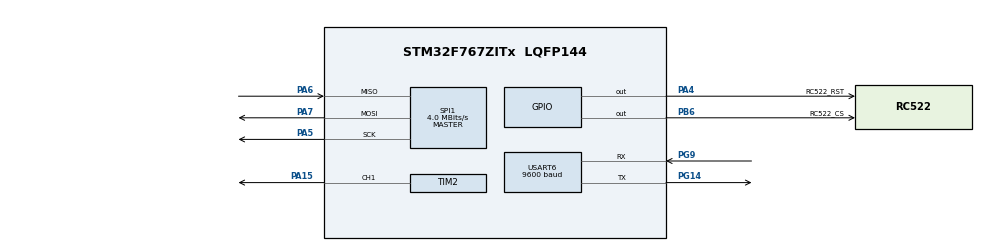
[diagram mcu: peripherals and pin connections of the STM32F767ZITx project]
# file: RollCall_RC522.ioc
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CORTEX_M7.default_mode_Activation=1
Mcu.Family=STM32F7
Mcu.Name=STM32F767ZITx
Mcu.Package=LQFP144
NVIC.PriorityGroup=NVIC_PRIORITYGROUP_4
PA15.Signal=S_TIM2_CH1_ETR
PA4.GPIO_Label=RC522_RST
PA4.PinState=GPIO_PIN_SET
PA4.Signal=GPIO_Output
PA5.Mode=Full_Duplex_Master
PA5.Signal=SPI1_SCK
PA6.Mode=Full_Duplex_Master
PA6.Signal=SPI1_MISO
PA7.Mode=Full_Duplex_Master
PA7.Signal=SPI1_MOSI
PB6.GPIO_Label=RC522_CS
PB6.PinState=GPIO_PIN_SET
PB6.Signal=GPIO_Output
PG14.Mode=Asynchronous
PG14.Signal=USART6_TX
PG9.Mode=Asynchronous
PG9.Signal=USART6_RX
ProjectManager.HeapSize=0x200
ProjectManager.StackSize=0x400
ProjectManager.TargetToolchain=CMake
RCC.HSE_VALUE=25000000
RCC.HSI_VALUE=16000000
RCC.LSE_VALUE=32768
RCC.USBFreq_Value=96000000
RCC.VCOOutputFreq_Value=192000000
SH.S_TIM2_CH1_ETR.0=TIM2_CH1,PWM Generation1 CH1
SPI1.BaudRatePrescaler=SPI_BAUDRATEPRESCALER_4
SPI1.CalculateBaudRate=4.0 MBits/s
SPI1.DataSize=SPI_DATASIZE_8BIT
SPI1.Direction=SPI_DIRECTION_2LINES
SPI1.Mode=SPI_MODE_MASTER
SPI1.VirtualType=VM_MASTER
TIM2.Channel-PWM\ Generation1\ CH1=TIM_CHANNEL_1
TIM2.Period=1000
TIM2.Prescaler=15
USART6.BaudRate=9600
USART6.VirtualMode-Asynchronous=VM_ASYNC
VP_TIM2_VS_ClockSourceINT.Mode=Internal
board=custom

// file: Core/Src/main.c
/* USER CODE BEGIN Header */
/**
  ******************************************************************************
  * @file           : main.c
  * @brief          : Main program body
  ******************************************************************************
  * @attention
  *
  * Copyright (c) 2026 STMicroelectronics.
  * All rights reserved.
  *
  * This software is licensed under terms that can be found in the LICENSE file
  * in the root directory of this software component.
  * If no LICENSE file comes with this software, it is provided AS-IS.
  *
  ******************************************************************************
  */
/* USER CODE END Header */
#include "main.h"

/* USER CODE BEGIN Includes */
#include <stdio.h> /* Bringing in snprintf() for formatting the UID string before transmission. */
#include "../../Modules/RC522/Inc/rc522.h" /* Bringing in the RC522 driver's public interface for the wiring test. */
/* USER CODE END Includes */

SPI_HandleTypeDef hspi1;

TIM_HandleTypeDef htim2;

UART_HandleTypeDef huart6;

/* USER CODE BEGIN PV */
uint8_t cardUid[7];   /* Holding the UID returned by RC522_ReadCardUID(). */
uint8_t cardUidLen;   /* Holding the actual UID length (4 or 7 bytes) written by RC522_ReadCardUID(). */
uint8_t uartMsg[64];  /* Buffering the formatted string transmitted over huart6. */
/* USER CODE END PV */

void SystemClock_Config(void);
static void MPU_Config(void);
static void MX_GPIO_Init(void);
static void MX_SPI1_Init(void);
static void MX_TIM2_Init(void);
static void MX_USART6_UART_Init(void);

/* USER CODE BEGIN 0 */

/**
  * @brief Plays a two-note "ding-dong" confirmation tone on the passive buzzer.
  * @note  TIM2's Prescaler=15 configures its counting frequency to 1 MHz (1,000,000 Hz),
  *        so ARR/CCR values below are derived directly from that 1 MHz tick rate.
  */
static void Play_DingDong(void)
{
  /* Playing the "ding" note (high pitch, C6, approximately 1046 Hz). */
  __HAL_TIM_SET_AUTORELOAD(&htim2, 1000000 / 1046);
  __HAL_TIM_SET_COMPARE(&htim2, TIM_CHANNEL_1, (1000000 / 1046) / 2); /* 50% duty cycle. */
  HAL_TIM_PWM_Start(&htim2, TIM_CHANNEL_1);
  HAL_Delay(100);

  /* Playing the "dong" note (low pitch, G5, approximately 784 Hz). */
  __HAL_TIM_SET_AUTORELOAD(&htim2, 1000000 / 784);
  __HAL_TIM_SET_COMPARE(&htim2, TIM_CHANNEL_1, (1000000 / 784) / 2);
  HAL_Delay(200);

  /* Stopping PWM output, silencing the buzzer. */
  HAL_TIM_PWM_Stop(&htim2, TIM_CHANNEL_1);
}

/* USER CODE END 0 */

int main(void)
{

  /* MPU Configuration--------------------------------------------------------*/
  MPU_Config();

  /* MCU Configuration--------------------------------------------------------*/

  /* Reset of all peripherals, Initializes the Flash interface and the Systick. */
  HAL_Init();

  /* Configure the system clock */
  SystemClock_Config();

  /* Initialize all configured peripherals */
  MX_GPIO_Init();
  MX_SPI1_Init();
  MX_TIM2_Init();
  MX_USART6_UART_Init();
  /* USER CODE BEGIN 2 */
  HAL_StatusTypeDef rc522InitStatus = RC522_Init(&hspi1); /* Bringing up the RC522 reader before entering the main loop. */
  if (rc522InitStatus == HAL_OK)
  {
    HAL_UART_Transmit(&huart6, (uint8_t *)"RC522 Init OK\r\n", 16, HAL_MAX_DELAY);
  }
  else
  {
    HAL_UART_Transmit(&huart6, (uint8_t *)"RC522 Init FAIL\r\n", 18, HAL_MAX_DELAY);
  }
  /* USER CODE END 2 */

  /* Infinite loop */
  /* USER CODE BEGIN WHILE */
  while (1)
  {
    if (RC522_ReadCardUID(cardUid, &cardUidLen) == MI_OK)
    {
      Play_DingDong(); /* Giving audible confirmation of the tap before the UID is transmitted. */
      // int len = snprintf((char *)uartMsg, sizeof(uartMsg),
      //                     "UID(%u): %02X %02X %02X %02X %02X %02X %02X\r\n",
      //                     cardUidLen, cardUid[0], cardUid[1], cardUid[2], cardUid[3],
      //                     cardUid[4], cardUid[5], cardUid[6]); /* Formatting only the leading cardUidLen bytes are meaningful; trailing zeros print harmlessly for 4-byte UIDs. */
      int len = snprintf((char *)uartMsg, sizeof(uartMsg), "CARD:"); /* Opening with the fixed prefix that the host's serial_listener.py matches via its CARD:<hex> regex. */
      for (uint8_t uidByteIndex = 0; uidByteIndex < cardUidLen; uidByteIndex++)
      {
        len += snprintf((char *)uartMsg + len, sizeof(uartMsg) - (size_t)len, "%02X", cardUid[uidByteIndex]); /* Appending only the cardUidLen bytes that are actually meaningful, so a 4-byte UID is not padded with trailing zeros into the packet. */
      }
      len += snprintf((char *)uartMsg + len, sizeof(uartMsg) - (size_t)len, "\r\n");
      HAL_UART_Transmit(&huart6, uartMsg, (uint16_t)len, HAL_MAX_DELAY);
      HAL_Delay(500); /* Throttling repeated prints while a card remains resting on the reader. */
    }
    /* USER CODE END WHILE */

  }
}

void SystemClock_Config(void)
{
  RCC_OscInitTypeDef RCC_OscInitStruct = {0};
  RCC_ClkInitTypeDef RCC_ClkInitStruct = {0};

  /** Configure the main internal regulator output voltage
  */
  __HAL_RCC_PWR_CLK_ENABLE();
  __HAL_PWR_VOLTAGESCALING_CONFIG(PWR_REGULATOR_VOLTAGE_SCALE3);

  /** Initializes the RCC Oscillators according to the specified parameters
  * in the RCC_OscInitTypeDef structure.
  */
  RCC_OscInitStruct.OscillatorType = RCC_OSCILLATORTYPE_HSI;
  RCC_OscInitStruct.HSIState = RCC_HSI_ON;
  RCC_OscInitStruct.HSICalibrationValue = RCC_HSICALIBRATION_DEFAULT;
  RCC_OscInitStruct.PLL.PLLState = RCC_PLL_NONE;
  if (HAL_RCC_OscConfig(&RCC_OscInitStruct) != HAL_OK)
  {
    Error_Handler();
  }

  /** Initializes the CPU, AHB and APB buses clocks
  */
  RCC_ClkInitStruct.ClockType = RCC_CLOCKTYPE_HCLK|RCC_CLOCKTYPE_SYSCLK
                              |RCC_CLOCKTYPE_PCLK1|RCC_CLOCKTYPE_PCLK2;
  RCC_ClkInitStruct.SYSCLKSource = RCC_SYSCLKSOURCE_HSI;
  RCC_ClkInitStruct.AHBCLKDivider = RCC_SYSCLK_DIV1;
  RCC_ClkInitStruct.APB1CLKDivider = RCC_HCLK_DIV1;
  RCC_ClkInitStruct.APB2CLKDivider = RCC_HCLK_DIV1;

  if (HAL_RCC_ClockConfig(&RCC_ClkInitStruct, FLASH_LATENCY_0) != HAL_OK)
  {
    Error_Handler();
  }
}

static void MX_SPI1_Init(void)
{

  /* SPI1 parameter configuration*/
  hspi1.Instance = SPI1;
  hspi1.Init.Mode = SPI_MODE_MASTER;
  hspi1.Init.Direction = SPI_DIRECTION_2LINES;
  hspi1.Init.DataSize = SPI_DATASIZE_8BIT;
  hspi1.Init.CLKPolarity = SPI_POLARITY_LOW;
  hspi1.Init.CLKPhase = SPI_PHASE_1EDGE;
  hspi1.Init.NSS = SPI_NSS_SOFT;
  hspi1.Init.BaudRatePrescaler = SPI_BAUDRATEPRESCALER_4;
  hspi1.Init.FirstBit = SPI_FIRSTBIT_MSB;
  hspi1.Init.TIMode = SPI_TIMODE_DISABLE;
  hspi1.Init.CRCCalculation = SPI_CRCCALCULATION_DISABLE;
  hspi1.Init.CRCPolynomial = 7;
  hspi1.Init.CRCLength = SPI_CRC_LENGTH_DATASIZE;
  hspi1.Init.NSSPMode = SPI_NSS_PULSE_ENABLE;
  if (HAL_SPI_Init(&hspi1) != HAL_OK)
  {
    Error_Handler();
  }

}

static void MX_TIM2_Init(void)
{

  TIM_ClockConfigTypeDef sClockSourceConfig = {0};
  TIM_MasterConfigTypeDef sMasterConfig = {0};
  TIM_OC_InitTypeDef sConfigOC = {0};

  htim2.Instance = TIM2;
  htim2.Init.Prescaler = 15;
  htim2.Init.CounterMode = TIM_COUNTERMODE_UP;
  htim2.Init.Period = 1000;
  htim2.Init.ClockDivision = TIM_CLOCKDIVISION_DIV1;
  htim2.Init.AutoReloadPreload = TIM_AUTORELOAD_PRELOAD_DISABLE;
  if (HAL_TIM_Base_Init(&htim2) != HAL_OK)
  {
    Error_Handler();
  }
  sClockSourceConfig.ClockSource = TIM_CLOCKSOURCE_INTERNAL;
  if (HAL_TIM_ConfigClockSource(&htim2, &sClockSourceConfig) != HAL_OK)
  {
    Error_Handler();
  }
  if (HAL_TIM_PWM_Init(&htim2) != HAL_OK)
  {
    Error_Handler();
  }
  sMasterConfig.MasterOutputTrigger = TIM_TRGO_RESET;
  sMasterConfig.MasterSlaveMode = TIM_MASTERSLAVEMODE_DISABLE;
  if (HAL_TIMEx_MasterConfigSynchronization(&htim2, &sMasterConfig) != HAL_OK)
  {
    Error_Handler();
  }
  sConfigOC.OCMode = TIM_OCMODE_PWM1;
  sConfigOC.Pulse = 0;
  sConfigOC.OCPolarity = TIM_OCPOLARITY_HIGH;
  sConfigOC.OCFastMode = TIM_OCFAST_DISABLE;
  if (HAL_TIM_PWM_ConfigChannel(&htim2, &sConfigOC, TIM_CHANNEL_1) != HAL_OK)
  {
    Error_Handler();
  }
  HAL_TIM_MspPostInit(&htim2);

}

static void MX_USART6_UART_Init(void)
{

  huart6.Instance = USART6;
  huart6.Init.BaudRate = 9600;
  huart6.Init.WordLength = UART_WORDLENGTH_8B;
  huart6.Init.StopBits = UART_STOPBITS_1;
  huart6.Init.Parity = UART_PARITY_NONE;
  huart6.Init.Mode = UART_MODE_TX_RX;
  huart6.Init.HwFlowCtl = UART_HWCONTROL_NONE;
  huart6.Init.OverSampling = UART_OVERSAMPLING_16;
  huart6.Init.OneBitSampling = UART_ONE_BIT_SAMPLE_DISABLE;
  huart6.AdvancedInit.AdvFeatureInit = UART_ADVFEATURE_NO_INIT;
  if (HAL_UART_Init(&huart6) != HAL_OK)
  {
    Error_Handler();
  }

}

static void MX_GPIO_Init(void)
{
  GPIO_InitTypeDef GPIO_InitStruct = {0};

  /* GPIO Ports Clock Enable */
  __HAL_RCC_GPIOA_CLK_ENABLE();
  __HAL_RCC_GPIOG_CLK_ENABLE();
  __HAL_RCC_GPIOB_CLK_ENABLE();

  /*Configure GPIO pin Output Level */
  HAL_GPIO_WritePin(RC522_RST_GPIO_Port, RC522_RST_Pin, GPIO_PIN_SET);

  /*Configure GPIO pin Output Level */
  HAL_GPIO_WritePin(RC522_CS_GPIO_Port, RC522_CS_Pin, GPIO_PIN_SET);

  /*Configure GPIO pin : RC522_RST_Pin */
  GPIO_InitStruct.Pin = RC522_RST_Pin;
  GPIO_InitStruct.Mode = GPIO_MODE_OUTPUT_PP;
  GPIO_InitStruct.Pull = GPIO_NOPULL;
  GPIO_InitStruct.Speed = GPIO_SPEED_FREQ_LOW;
  HAL_GPIO_Init(RC522_RST_GPIO_Port, &GPIO_InitStruct);

  /*Configure GPIO pin : RC522_CS_Pin */
  GPIO_InitStruct.Pin = RC522_CS_Pin;
  GPIO_InitStruct.Mode = GPIO_MODE_OUTPUT_PP;
  GPIO_InitStruct.Pull = GPIO_NOPULL;
  GPIO_InitStruct.Speed = GPIO_SPEED_FREQ_LOW;
  HAL_GPIO_Init(RC522_CS_GPIO_Port, &GPIO_InitStruct);

}

 /* MPU Configuration */

void MPU_Config(void)
{
  MPU_Region_InitTypeDef MPU_InitStruct = {0};

  /* Disables the MPU */
  HAL_MPU_Disable();

  /** Initializes and configures the Region and the memory to be protected
  */
  MPU_InitStruct.Enable = MPU_REGION_ENABLE;
  MPU_InitStruct.Number = MPU_REGION_NUMBER0;
  MPU_InitStruct.BaseAddress = 0x0;
  MPU_InitStruct.Size = MPU_REGION_SIZE_4GB;
  MPU_InitStruct.SubRegionDisable = 0x87;
  MPU_InitStruct.TypeExtField = MPU_TEX_LEVEL0;
  MPU_InitStruct.AccessPermission = MPU_REGION_NO_ACCESS;
  MPU_InitStruct.DisableExec = MPU_INSTRUCTION_ACCESS_DISABLE;
  MPU_InitStruct.IsShareable = MPU_ACCESS_SHAREABLE;
  MPU_InitStruct.IsCacheable = MPU_ACCESS_NOT_CACHEABLE;
  MPU_InitStruct.IsBufferable = MPU_ACCESS_NOT_BUFFERABLE;

  HAL_MPU_ConfigRegion(&MPU_InitStruct);
  /* Enables the MPU */
  HAL_MPU_Enable(MPU_PRIVILEGED_DEFAULT);

}

void Error_Handler(void)
{
  __disable_irq();
  while (1)
  {
  }
}
